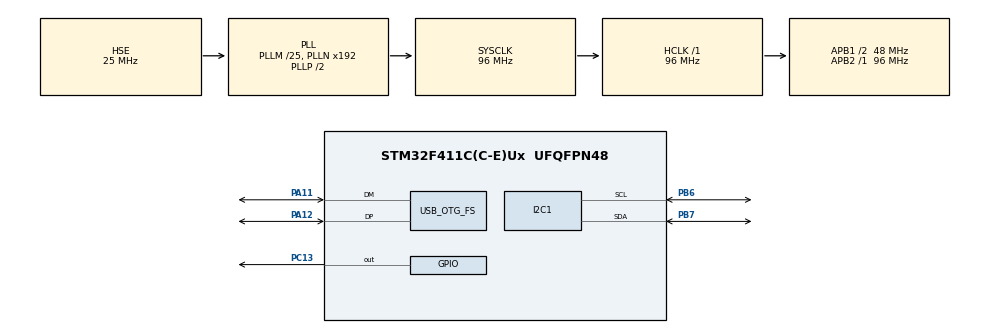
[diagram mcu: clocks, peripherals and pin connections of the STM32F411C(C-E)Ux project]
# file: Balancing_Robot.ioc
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Dma.I2C1_RX.0.Direction=DMA_PERIPH_TO_MEMORY
Dma.I2C1_RX.0.FIFOMode=DMA_FIFOMODE_DISABLE
Dma.I2C1_RX.0.Instance=DMA1_Stream0
Dma.I2C1_RX.0.MemDataAlignment=DMA_MDATAALIGN_BYTE
Dma.I2C1_RX.0.MemInc=DMA_MINC_ENABLE
Dma.I2C1_RX.0.Mode=DMA_NORMAL
Dma.I2C1_RX.0.PeriphDataAlignment=DMA_PDATAALIGN_BYTE
Dma.I2C1_RX.0.PeriphInc=DMA_PINC_DISABLE
Dma.I2C1_RX.0.Priority=DMA_PRIORITY_LOW
Dma.Request0=I2C1_RX
I2C1.I2C_Mode=I2C_Fast
Mcu.Family=STM32F4
Mcu.Name=STM32F411C(C-E)Ux
Mcu.Package=UFQFPN48
NVIC.DMA1_Stream0_IRQn=true\:0\:0\:false\:false\:true\:false\:true\:true
NVIC.I2C1_EV_IRQn=true\:0\:0\:false\:false\:true\:true\:true\:true
NVIC.OTG_FS_IRQn=true\:0\:0\:false\:false\:true\:false\:true\:true
NVIC.PriorityGroup=NVIC_PRIORITYGROUP_4
PA11.Mode=Device_Only
PA11.Signal=USB_OTG_FS_DM
PA12.Mode=Device_Only
PA12.Signal=USB_OTG_FS_DP
PB6.Mode=I2C
PB6.Signal=I2C1_SCL
PB7.Mode=I2C
PB7.Signal=I2C1_SDA
PC13-ANTI_TAMP.Signal=GPIO_Output
PH0\ -\ OSC_IN.Mode=HSE-External-Oscillator
PH0\ -\ OSC_IN.Signal=RCC_OSC_IN
PH1\ -\ OSC_OUT.Mode=HSE-External-Oscillator
PH1\ -\ OSC_OUT.Signal=RCC_OSC_OUT
ProjectManager.HeapSize=0x200
ProjectManager.StackSize=0x400
ProjectManager.TargetToolchain=STM32CubeIDE
RCC.48MHZClocksFreq_Value=48000000
RCC.AHBFreq_Value=96000000
RCC.APB1CLKDivider=RCC_HCLK_DIV2
RCC.APB1Freq_Value=48000000
RCC.APB1TimFreq_Value=96000000
RCC.APB2Freq_Value=96000000
RCC.APB2TimFreq_Value=96000000
RCC.CortexFreq_Value=96000000
RCC.HCLKFreq_Value=96000000
RCC.HSE_VALUE=25000000
RCC.HSI_VALUE=16000000
RCC.LSE_VALUE=32768
RCC.PLLM=25
RCC.SYSCLKFreq_VALUE=96000000
RCC.SYSCLKSource=RCC_SYSCLKSOURCE_PLLCLK
RCC.VCOOutputFreq_Value=192000000
USB_DEVICE.CLASS_NAME_FS=CDC
USB_DEVICE.VirtualMode=Cdc
USB_DEVICE.VirtualModeFS=Cdc_FS
USB_OTG_FS.VirtualMode=Device_Only
VP_USB_DEVICE_VS_USB_DEVICE_CDC_FS.Mode=CDC_FS
board=custom

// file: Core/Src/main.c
/* USER CODE BEGIN Header */
/**
  ******************************************************************************
  * @file           : main.c
  * @brief          : Main program body
  ******************************************************************************
  * @attention
  *
  * Copyright (c) 2026 STMicroelectronics.
  * All rights reserved.
  *
  * This software is licensed under terms that can be found in the LICENSE file
  * in the root directory of this software component.
  * If no LICENSE file comes with this software, it is provided AS-IS.
  *
  ******************************************************************************
  */
/* USER CODE END Header */
#include "main.h"
#include "usb_device.h"

/* USER CODE BEGIN Includes */
#include <stdio.h>
#include "usbd_cdc_if.h"

/* USER CODE END Includes */

I2C_HandleTypeDef hi2c1;
DMA_HandleTypeDef hdma_i2c1_rx;

/* USER CODE BEGIN PV */
#define MPU6050_ADDR 0xD0 // 0x68 << 1
uint8_t mpu_data[14];
int16_t Accel_X_RAW,Accel_Y_RAW,Accel_Z_RAW;
int16_t mpu_temp;
int16_t Gyro_X_RAW,Gyro_Y_RAW,Gyro_Z_RAW;
float Ax, Ay, Az, Gx, Gy, Gz;
uint8_t mpu_ready_flag = 0;

/* USER CODE END PV */

void SystemClock_Config(void);
static void MX_GPIO_Init(void);
static void MX_DMA_Init(void);
static void MX_I2C1_Init(void);

/* USER CODE BEGIN 0 */
int _write(int file, char *ptr, int len) {
    // USB가 전송 가능한 상태가 될 때까지 대기 후 전송
    while (CDC_Transmit_FS((uint8_t *)ptr, len) == USBD_BUSY);
    return len;
}
/* USER CODE END 0 */

int main(void)
{

  /* MCU Configuration--------------------------------------------------------*/

  /* Reset of all peripherals, Initializes the Flash interface and the Systick. */
  HAL_Init();

  /* Configure the system clock */
  SystemClock_Config();

  /* Initialize all configured peripherals */
  MX_GPIO_Init();
  MX_DMA_Init();
  MX_USB_DEVICE_Init();
  MX_I2C1_Init();
  /* USER CODE BEGIN 2 */
  uint8_t temp = 0x00;
  printf("set mpu6050 dma\n");
  HAL_I2C_Mem_Write(&hi2c1, MPU6050_ADDR, 0x6B, 1, &temp, 1, 100);
  HAL_Delay(100);

  // 2. 첫 번째 DMA 수신 시작
  printf("first mpu6050 data\n");
  HAL_I2C_Mem_Read_DMA(&hi2c1, MPU6050_ADDR, 0x3B, 1, mpu_data, 14);
  /* USER CODE END 2 */

  /* Infinite loop */
  /* USER CODE BEGIN WHILE */
  while (1)
  {
	  if(mpu_ready_flag){
		  mpu_ready_flag = 0;

		  // 데이터 변환 (물리량 계산)
		  Ax = (int16_t)(mpu_data[0] << 8 | mpu_data[1]) / 16384.0;
		  Ay = (int16_t)(mpu_data[2] << 8 | mpu_data[3]) / 16384.0;
		  Az = (int16_t)(mpu_data[4] << 8 | mpu_data[5]) / 16384.0;
		  Gx = (int16_t)(mpu_data[8] << 8 | mpu_data[9]) / 131.0;
		  Gy = (int16_t)(mpu_data[10] << 8 | mpu_data[11]) / 131.0;
		  Gz = (int16_t)(mpu_data[12] << 8 | mpu_data[13]) / 131.0;

		  // 출력 (USB CDC 사용)
		  printf("Ax: %.2f, Ay: %.2f, Az: %.2f | Gx: %.2f, Gy: %.2f, Gz: %.2f\r\n", Ax, Ay, Az, Gx, Gy, Gz);

		  // 3. 다음 데이터를 읽기 위해 다시 호출 (Normal 모드 핵심)
		  HAL_Delay(100); // 센서 출력 속도 조절 (너무 빠르면 USB가 끊김)

	  }
	HAL_Delay(100);
    /* USER CODE END WHILE */

  }
}

void SystemClock_Config(void)
{
  RCC_OscInitTypeDef RCC_OscInitStruct = {0};
  RCC_ClkInitTypeDef RCC_ClkInitStruct = {0};

  /** Configure the main internal regulator output voltage
  */
  __HAL_RCC_PWR_CLK_ENABLE();
  __HAL_PWR_VOLTAGESCALING_CONFIG(PWR_REGULATOR_VOLTAGE_SCALE1);

  /** Initializes the RCC Oscillators according to the specified parameters
  * in the RCC_OscInitTypeDef structure.
  */
  RCC_OscInitStruct.OscillatorType = RCC_OSCILLATORTYPE_HSE;
  RCC_OscInitStruct.HSEState = RCC_HSE_ON;
  RCC_OscInitStruct.PLL.PLLState = RCC_PLL_ON;
  RCC_OscInitStruct.PLL.PLLSource = RCC_PLLSOURCE_HSE;
  RCC_OscInitStruct.PLL.PLLM = 25;
  RCC_OscInitStruct.PLL.PLLN = 192;
  RCC_OscInitStruct.PLL.PLLP = RCC_PLLP_DIV2;
  RCC_OscInitStruct.PLL.PLLQ = 4;
  if (HAL_RCC_OscConfig(&RCC_OscInitStruct) != HAL_OK)
  {
    Error_Handler();
  }

  /** Initializes the CPU, AHB and APB buses clocks
  */
  RCC_ClkInitStruct.ClockType = RCC_CLOCKTYPE_HCLK|RCC_CLOCKTYPE_SYSCLK
                              |RCC_CLOCKTYPE_PCLK1|RCC_CLOCKTYPE_PCLK2;
  RCC_ClkInitStruct.SYSCLKSource = RCC_SYSCLKSOURCE_PLLCLK;
  RCC_ClkInitStruct.AHBCLKDivider = RCC_SYSCLK_DIV1;
  RCC_ClkInitStruct.APB1CLKDivider = RCC_HCLK_DIV2;
  RCC_ClkInitStruct.APB2CLKDivider = RCC_HCLK_DIV1;

  if (HAL_RCC_ClockConfig(&RCC_ClkInitStruct, FLASH_LATENCY_3) != HAL_OK)
  {
    Error_Handler();
  }
}

static void MX_I2C1_Init(void)
{

  hi2c1.Instance = I2C1;
  hi2c1.Init.ClockSpeed = 400000;
  hi2c1.Init.DutyCycle = I2C_DUTYCYCLE_2;
  hi2c1.Init.OwnAddress1 = 0;
  hi2c1.Init.AddressingMode = I2C_ADDRESSINGMODE_7BIT;
  hi2c1.Init.DualAddressMode = I2C_DUALADDRESS_DISABLE;
  hi2c1.Init.OwnAddress2 = 0;
  hi2c1.Init.GeneralCallMode = I2C_GENERALCALL_DISABLE;
  hi2c1.Init.NoStretchMode = I2C_NOSTRETCH_DISABLE;
  if (HAL_I2C_Init(&hi2c1) != HAL_OK)
  {
    Error_Handler();
  }

}

static void MX_DMA_Init(void)
{

  /* DMA controller clock enable */
  __HAL_RCC_DMA1_CLK_ENABLE();

  /* DMA interrupt init */
  /* DMA1_Stream0_IRQn interrupt configuration */
  HAL_NVIC_SetPriority(DMA1_Stream0_IRQn, 0, 0);
  HAL_NVIC_EnableIRQ(DMA1_Stream0_IRQn);

}

static void MX_GPIO_Init(void)
{
  GPIO_InitTypeDef GPIO_InitStruct = {0};

  /* GPIO Ports Clock Enable */
  __HAL_RCC_GPIOC_CLK_ENABLE();
  __HAL_RCC_GPIOH_CLK_ENABLE();
  __HAL_RCC_GPIOA_CLK_ENABLE();
  __HAL_RCC_GPIOB_CLK_ENABLE();

  /*Configure GPIO pin Output Level */
  HAL_GPIO_WritePin(GPIOC, GPIO_PIN_13, GPIO_PIN_RESET);

  /*Configure GPIO pin : PC13 */
  GPIO_InitStruct.Pin = GPIO_PIN_13;
  GPIO_InitStruct.Mode = GPIO_MODE_OUTPUT_PP;
  GPIO_InitStruct.Pull = GPIO_NOPULL;
  GPIO_InitStruct.Speed = GPIO_SPEED_FREQ_LOW;
  HAL_GPIO_Init(GPIOC, &GPIO_InitStruct);

}

/* USER CODE BEGIN 4 */
void HAL_I2C_MemRxCpltCallback(I2C_HandleTypeDef *hi2c)
{
	if(hi2c->Instance == I2C1){
		mpu_ready_flag=1;
		HAL_I2C_Mem_Read_DMA(&hi2c1, MPU6050_ADDR, 0x3B, 1, mpu_data, 14);
	}

  /* NOTE : This function should not be modified, when the callback is needed,
            the HAL_I2C_MemRxCpltCallback could be implemented in the user file
   */
}

/* USER CODE END 4 */

void Error_Handler(void)
{
  __disable_irq();
  while (1)
  {
  }
}
